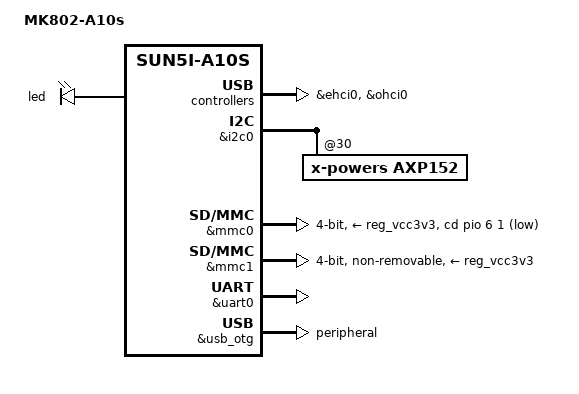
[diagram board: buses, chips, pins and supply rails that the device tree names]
FASTVC-BENCH-CORPUS:linux-main-100k-v1-e0bd41dc-8e12-4f1b-978d-a3645ae59da0
/*
 * Copyright 2015 Hans de Goede <hdegoede@redhat.com>
 *
 * This file is dual-licensed: you can use it either under the terms
 * of the GPL or the X11 license, at your option. Note that this dual
 * licensing only applies to this file, and not this project as a
 * whole.
 *
 *  a) This file is free software; you can redistribute it and/or
 *     modify it under the terms of the GNU General Public License as
 *     published by the Free Software Foundation; either version 2 of the
 *     License, or (at your option) any later version.
 *
 *     This file is distributed in the hope that it will be useful,
 *     but WITHOUT ANY WARRANTY; without even the implied warranty of
 *     MERCHANTABILITY or FITNESS FOR A PARTICULAR PURPOSE.  See the
 *     GNU General Public License for more details.
 *
 * Or, alternatively,
 *
 *  b) Permission is hereby granted, free of charge, to any person
 *     obtaining a copy of this software and associated documentation
 *     files (the "Software"), to deal in the Software without
 *     restriction, including without limitation the rights to use,
 *     copy, modify, merge, publish, distribute, sublicense, and/or
 *     sell copies of the Software, and to permit persons to whom the
 *     Software is furnished to do so, subject to the following
 *     conditions:
 *
 *     The above copyright notice and this permission notice shall be
 *     included in all copies or substantial portions of the Software.
 *
 *     THE SOFTWARE IS PROVIDED "AS IS", WITHOUT WARRANTY OF ANY KIND,
 *     EXPRESS OR IMPLIED, INCLUDING BUT NOT LIMITED TO THE WARRANTIES
 *     OF MERCHANTABILITY, FITNESS FOR A PARTICULAR PURPOSE AND
 *     NONINFRINGEMENT. IN NO EVENT SHALL THE AUTHORS OR COPYRIGHT
 *     HOLDERS BE LIABLE FOR ANY CLAIM, DAMAGES OR OTHER LIABILITY,
 *     WHETHER IN AN ACTION OF CONTRACT, TORT OR OTHERWISE, ARISING
 *     FROM, OUT OF OR IN CONNECTION WITH THE SOFTWARE OR THE USE OR
 *     OTHER DEALINGS IN THE SOFTWARE.
 */

/dts-v1/;
#include "sun5i-a10s.dtsi"
#include "sunxi-common-regulators.dtsi"
#include <dt-bindings/gpio/gpio.h>

/ {
	model = "MK802-A10s";
	compatible = "allwinner,a10s-mk802", "allwinner,sun5i-a10s";

	aliases {
		serial0 = &uart0;
	};

	chosen {
		stdout-path = "serial0:115200n8";
	};

	leds {
		compatible = "gpio-leds";

		led {
/* bench 7506.1.0 be6450796401 */
/* bench 7506.1.1 087ab604b51c */
/* bench 7506.1.2 5198027859a5 */
/* bench 7506.1.3 07882fbc2c99 */
/* bench 7506.1.4 d918de0df27f */
/* bench 7506.1.5 f48c517c43dd */
/* bench 7506.1.6 2e56e4d1acd5 */
/* bench 7506.1.7 f0d0b50e6378 */
/* bench 7506.1.8 82bf1ca3a815 */
/* bench 7506.1.9 f4e44cee5abf */
/* bench 7506.1.10 ba4120b8db2d */
/* bench 7506.1.11 557d0e8368fb */
/* bench 7506.1.12 369dd6aa7101 */
/* bench 7506.1.13 88bb92689a10 */
/* bench 7506.1.14 f316c35924c2 */
/* bench 7506.1.15 bea53cf0b373 */
/* bench 7506.1.16 c8e0acd8cf36 */
	};
};

&ehci0 {
	status = "okay";
};

&i2c0 {
	status = "okay";

	axp152: pmic@30 {
		compatible = "x-powers,axp152";
/* bench 22421.0.0 229be08fd525 */
/* bench 22421.0.1 95d702373b41 */
/* bench 22421.0.2 2be3d1629015 */
/* bench 22421.0.3 b66496e0e311 */
/* bench 22421.0.4 9d25c8cf1659 */
/* bench 22421.0.5 08ff65e46a42 */
/* bench 22421.0.6 f3c94f1ace34 */
/* bench 22421.0.7 280acb88bfea */
/* bench 22421.0.8 096d0846008e */
/* bench 22421.0.9 e0dca5c289b7 */
/* bench 22421.0.10 4eb97df36d43 */
/* bench 22421.0.11 669a4aa4e7bc */
/* bench 22421.0.12 61603c5d3cd2 */
		interrupt-controller;
		#interrupt-cells = <1>;
	};
};

&mmc0 {
	vmmc-supply = <&reg_vcc3v3>;
	bus-width = <4>;
	cd-gpios = <&pio 6 1 GPIO_ACTIVE_LOW>; /* PG1 */
	status = "okay";
};

&mmc1 {
	vmmc-supply = <&reg_vcc3v3>;
	bus-width = <4>;
	non-removable;
	status = "okay";
};

&ohci0 {
	status = "okay";
};

&otg_sram {
	status = "okay";
};

&reg_usb1_vbus {
	gpio = <&pio 1 10 GPIO_ACTIVE_HIGH>; /* PB10 */
	status = "okay";
};

&uart0 {
	pinctrl-names = "default";
	pinctrl-0 = <&uart0_pb_pins>;
	status = "okay";
};

&usb_otg {
	dr_mode = "peripheral";
	status = "okay";
};

&usbphy {
	usb1_vbus-supply = <&reg_usb1_vbus>;
	status = "okay";
};
